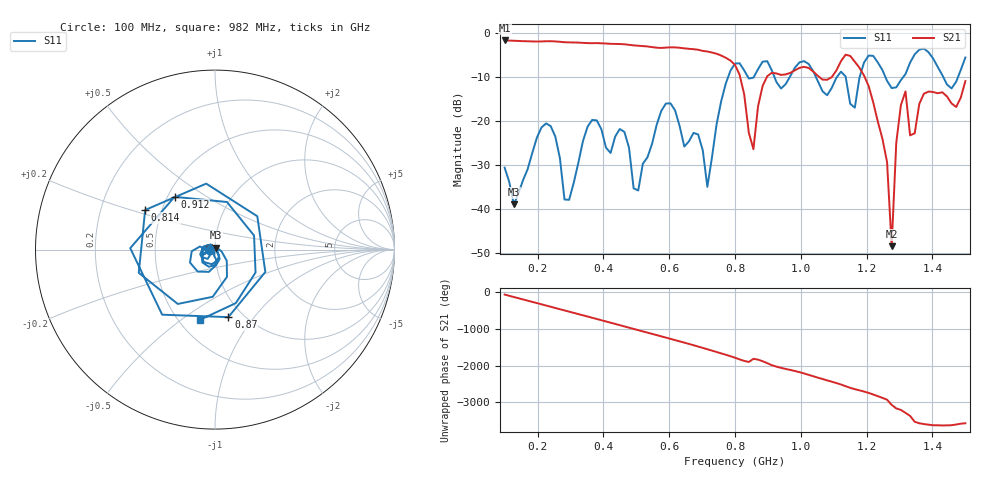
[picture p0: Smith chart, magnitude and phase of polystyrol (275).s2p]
! NanoVNA-App
! Date: 2025-09-25 15:32:02
! Start: 100MHz Stop: 1,5GHz Points: 101
! S-Parameter data: F S11 S21 S12 S22
# Hz S RI R 50
!  Frequency  S11_Real  S11_Imag  S21_Real  S21_Imag  S12_Real  S12_Imag  S22_Real  S22_Imag
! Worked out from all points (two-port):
!   101 points, 100 MHz to 1.5 GHz, reference 50 ohm
!   highest |S21| = -1.80 dB at 100 MHz (marker M1); lowest = -48.6 dB at 1.276 GHz (marker M2)
!   |S21| within 3 dB of the highest: start of sweep to 743.1 MHz
!   lowest |S11| = -39.1 dB at 128 MHz (marker M3), VSWR 1.02, Z = 50.3 + j1.07 ohm
!   |S11| at or under -10 dB: start of sweep to 779.7 MHz; 1.045 GHz to 1.111 GHz (65.53 MHz wide, 6.08 % of centre); 1.256 GHz to 1.312 GHz (56.06 MHz wide, 4.36 % of centre) (the widest 3 of 7)
!   S12 and S22 are empty: the file has one direction only
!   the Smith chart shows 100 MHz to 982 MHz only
!   S11 on the Smith chart (normalised r, x): 100 MHz: 0.94, -0.01; 814 MHz: 0.40, +0.22; 870 MHz: 0.85, -0.75; 912 MHz: 0.54, +0.37; 982 MHz: 0.64, -0.59
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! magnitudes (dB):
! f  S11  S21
! 100 MHz  -30.7  -1.8
! 128 MHz  -39.1  -1.9
! 212 MHz  -21.6  -2.0
! 282 MHz  -37.9  -2.2
! 338 MHz  -24.7  -2.3
! 464 MHz  -22.6  -2.7
! 506 MHz  -35.9  -3.0
! 576 MHz  -17.8  -3.5
! 716 MHz  -35.1  -4.3
! 800 MHz  -7.0  -7.4
! 814 MHz  -7.0  -9.6
! 856 MHz  -10.3  -26.5
! 870 MHz  -8.3  -16.8
! 912 MHz  -8.6  -9.1
! 982 MHz  -8.0  -8.6
! 1.038 GHz  -8.8  -8.9
! 1.192 GHz  -6.8  -9.8
! 1.262 GHz  -11.0  -29.5
! 1.276 GHz  -12.6  -48.6
! 1.29 GHz  -12.5  -25.0
! 1.318 GHz  -9.4  -13.4
! 1.5 GHz  -5.7  -11.0
